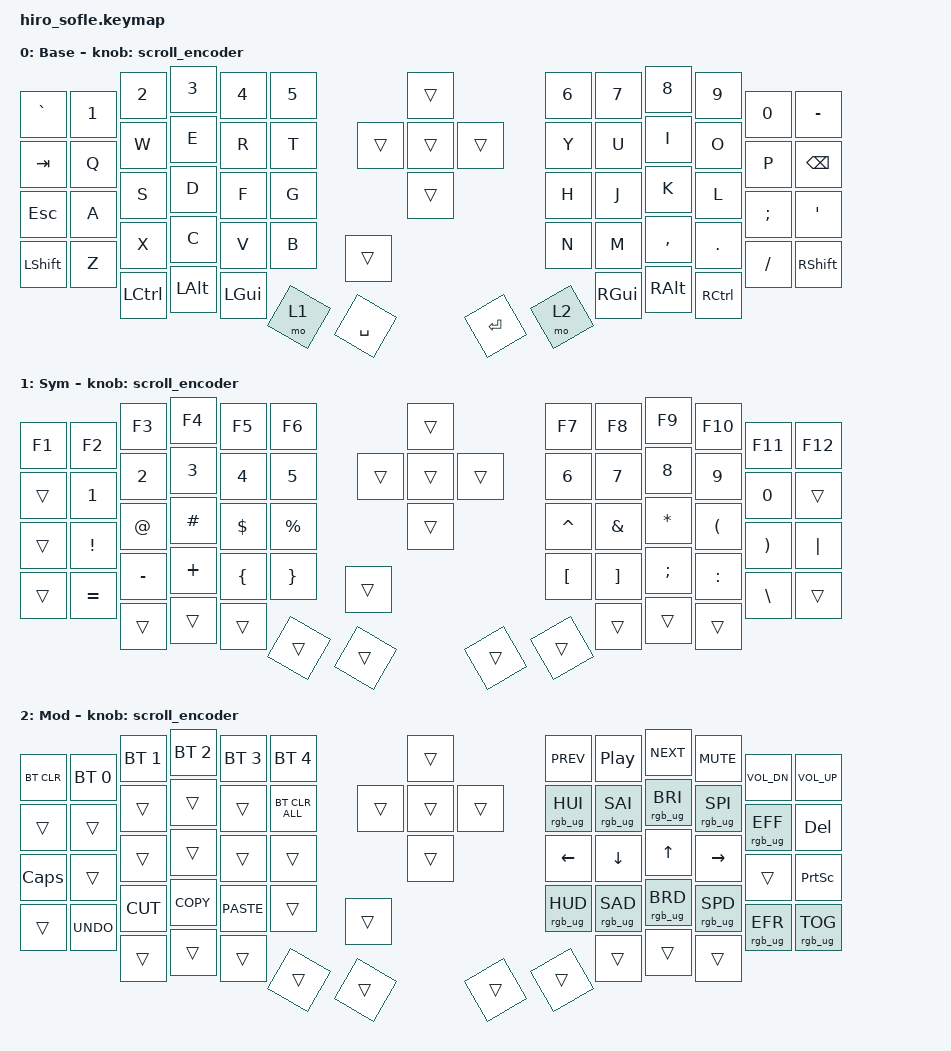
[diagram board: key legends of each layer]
#define ZMK_POINTING_DEFAULT_MOVE_VAL 1200  // 600
#define ZMK_POINTING_DEFAULT_SCRL_VAL 25   // 10

#include <input/processors.dtsi>
#include <zephyr/dt-bindings/input/input-event-codes.h>
#include <behaviors.dtsi>
#include <dt-bindings/zmk/bt.h>
#include <dt-bindings/zmk/ext_power.h>
#include <dt-bindings/zmk/keys.h>
#include <dt-bindings/zmk/pointing.h>
#include <dt-bindings/zmk/rgb.h>
#include <dt-bindings/zmk/outputs.h>

&mmv_input_listener { input-processors = <&zip_xy_scaler 2 1>; };

&msc_input_listener { input-processors = <&zip_scroll_scaler 2 1>; };

&msc {
    acceleration-exponent = <1>;      // 0
    time-to-max-speed-ms = <100>;     // 300
    delay-ms = <0>;                   // 0
};

&mmv {
    time-to-max-speed-ms = <500>;
    acceleration-exponent = <1>;
    trigger-period-ms = <16>;
};


/ {

    scroll_encoder: scroll_encoder {
        compatible = "zmk,behavior-sensor-rotate";
        #sensor-binding-cells = <0>;
        bindings = <&msc SCRL_DOWN>, <&msc SCRL_UP>;
        tap-ms = <100>;
    };

    keymap {
        compatible = "zmk,keymap";

        base_layer {
            bindings = <
&kp GRAVE  &kp N1     &kp N2    &kp N3    &kp N4  &kp N5     &trans  &kp N6   &kp N7  &kp N8     &kp N9    &kp N0     &kp MINUS
&kp TAB    &kp Q      &kp W     &kp E     &kp R   &kp T      &trans  &kp Y    &kp U   &kp I      &kp O     &kp P      &kp BSPC
&kp ESC    &kp A      &kp S     &kp D     &kp F   &kp G      &trans  &kp H    &kp J   &kp K      &kp L     &kp SEMI   &kp APOS
&kp LSHFT  &kp Z      &kp X     &kp C     &kp V   &kp B      &trans  &kp N    &kp M   &kp COMMA  &kp DOT   &kp FSLH   &kp RSHFT
&trans     &kp LCTRL  &kp LALT  &kp LGUI  &mo 1   &kp SPACE  &trans  &kp RET  &mo 2   &kp RGUI   &kp RALT  &kp RCTRL
            >;

            display-name = "Base";
            sensor-bindings = <&scroll_encoder>;
        };

        symbols_layer {
            bindings = <
&kp F1  &kp F2     &kp F3     &kp F4    &kp F5    &kp F6    &trans  &kp F7     &kp F8    &kp F9    &kp F10    &kp F11   &kp F12
&trans  &kp N1     &kp N2     &kp N3    &kp N4    &kp N5    &trans  &kp N6     &kp N7    &kp N8    &kp N9     &kp N0    &trans
&trans  &kp EXCL   &kp AT     &kp HASH  &kp DLLR  &kp PRCNT &trans  &kp CARET  &kp AMPS  &kp STAR  &kp LPAR   &kp RPAR  &kp PIPE
&trans  &kp EQUAL  &kp MINUS  &kp PLUS  &kp LBRC  &kp RBRC  &trans  &kp LBKT   &kp RBKT  &kp SEMI  &kp COLON  &kp BSLH  &trans
&trans  &trans     &trans     &trans    &trans    &trans    &trans  &trans     &trans    &trans    &trans     &trans
            >;

            display-name = "Sym";
            sensor-bindings = <&scroll_encoder>;
        };

        mods_layer {
            bindings = <
&bt BT_CLR  &bt BT_SEL 0  &bt BT_SEL 1  &bt BT_SEL 2  &bt BT_SEL 3  &bt BT_SEL 4    &trans  &kp C_PREV       &kp C_PP         &kp C_NEXT       &kp C_MUTE       &kp C_VOL_DN     &kp C_VOL_UP
&trans      &trans        &trans        &trans        &trans        &bt BT_CLR_ALL  &trans  &rgb_ug RGB_HUI  &rgb_ug RGB_SAI  &rgb_ug RGB_BRI  &rgb_ug RGB_SPI  &rgb_ug RGB_EFF  &kp DEL
&kp CLCK    &trans        &trans        &trans        &trans        &trans          &trans  &kp LEFT         &kp DOWN         &kp UP           &kp RIGHT        &trans           &kp PSCRN
&trans      &kp K_UNDO    &kp K_CUT     &kp K_COPY    &kp K_PASTE   &trans          &trans  &rgb_ug RGB_HUD  &rgb_ug RGB_SAD  &rgb_ug RGB_BRD  &rgb_ug RGB_SPD  &rgb_ug RGB_EFR  &rgb_ug RGB_TOG
&trans      &trans        &trans        &trans        &trans        &trans          &trans  &trans           &trans           &trans           &trans           &trans
            >;

            display-name = "Mod";
            sensor-bindings = <&scroll_encoder>;
        };
    };
};
